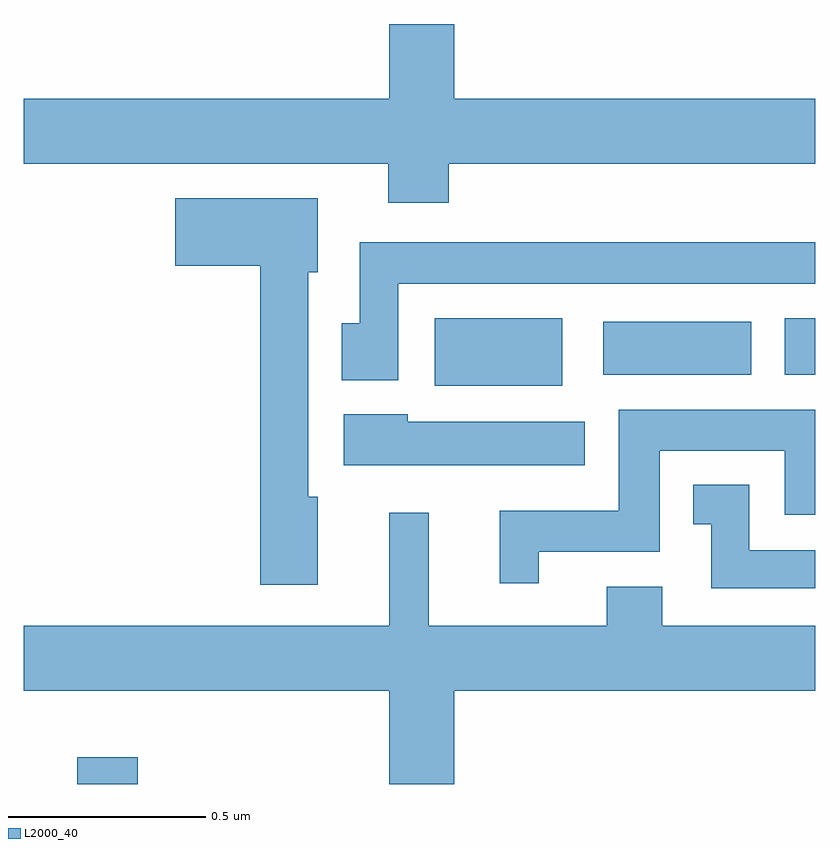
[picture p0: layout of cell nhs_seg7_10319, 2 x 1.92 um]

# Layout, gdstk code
import gdstk
lib = gdstk.Library(unit=1e-6, precision=1e-09)
def R(c, l, rs):  # rectangles x0, y0, x1, y1
    for r in rs: c.add(gdstk.rectangle(r[:2], r[2:], *l))
def P(c, l, *ps):  # polygons
    for p in ps: c.add(gdstk.Polygon(p, *l))
L2000_40 = (2000, 40)

nhs_seg7_10319 = lib.new_cell('nhs_seg7_10319')
R(nhs_seg7_10319, L2000_40, [(248.135,1047,248.288,1047.067), (249.038,1048.007,249.361,1048.177), (249.465,1048.034,249.838,1048.168), (249.923,1048.034,250,1048.177)])
P(nhs_seg7_10319, L2000_40, [(249.074,1048.568),(250,1048.568),(250,1048.732),(249.088,1048.732),(249.088,1048.921),(248.924,1048.921),(248.924,1048.732),(248,1048.732),(248,1048.568),(248.921,1048.568),(248.921,1048.469),(249.074,1048.469)],
  [(248.743,1047.726),(248.719,1047.726),(248.719,1048.293),(248.743,1048.293),(248.743,1048.48),(248.382,1048.48),(248.382,1048.31),(248.597,1048.31),(248.597,1047.504),(248.743,1047.504)],
  [(248.946,1048.265),(250,1048.265),(250,1048.369),(248.849,1048.369),(248.849,1048.164),(248.804,1048.164),(248.804,1048.02),(248.946,1048.02)],
  [(249.301,1047.587),(249.607,1047.587),(249.607,1047.842),(249.923,1047.842),(249.923,1047.681),(250,1047.681),(250,1047.946),(249.503,1047.946),(249.503,1047.691),(249.203,1047.691),(249.203,1047.507),(249.301,1047.507)],
  [(249.418,1047.916),(248.97,1047.916),(248.97,1047.934),(248.808,1047.934),(248.808,1047.806),(249.418,1047.806)],
  [(250,1047.591),(249.834,1047.591),(249.834,1047.757),(249.692,1047.757),(249.692,1047.657),(249.738,1047.657),(249.738,1047.495),(250,1047.495)],
  [(249.088,1047.236),(250,1047.236),(250,1047.4),(249.613,1047.4),(249.613,1047.499),(249.473,1047.499),(249.473,1047.4),(249.023,1047.4),(249.023,1047.685),(248.924,1047.685),(248.924,1047.4),(248,1047.4),(248,1047.236),(248.924,1047.236),(248.924,1047),(249.088,1047)])

lib.write_gds('nhs_seg7_10319.gds')
